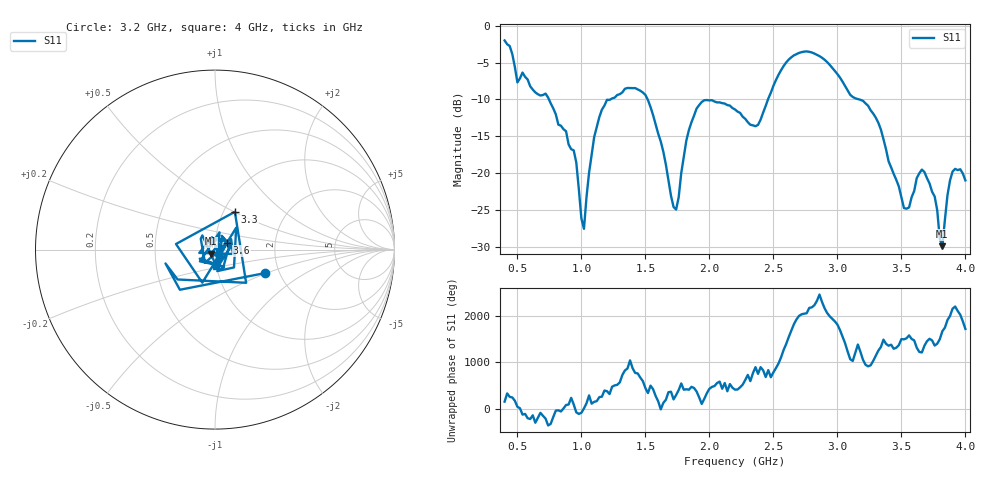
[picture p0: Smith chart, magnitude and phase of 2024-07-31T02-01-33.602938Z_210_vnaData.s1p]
!Created with skrf (http://scikit-rf.org).
# Hz S RI R 50.0
!freq ReS11 ImS11
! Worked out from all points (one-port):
!   181 points, 400 MHz to 4 GHz, reference 50 ohm
!   lowest |S11| = -29.9 dB at 3.82 GHz (marker M1), VSWR 1.07, Z = 47.7 - j2.16 ohm
!   |S11| at or under -10 dB: 746.4 MHz to 1.227 GHz (480.1 MHz wide, 48.7 % of centre); 1.517 GHz to 2.458 GHz (940.2 MHz wide, 47.3 % of centre); 3.17 GHz to end of sweep
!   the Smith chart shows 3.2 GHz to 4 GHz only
!   S11 on the Smith chart (normalised r, x): 3.2 GHz: 1.69, -0.49; 3.3 GHz: 1.13, +0.50; 3.6 GHz: 1.14, +0.09; 4 GHz: 1.00, -0.18
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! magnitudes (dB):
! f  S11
! 400 MHz  -2.0
! 500 MHz  -7.7
! 720 MHz  -9.2
! 860 MHz  -14.0
! 960 MHz  -18.5
! 1.02 GHz  -27.5
! 1.06 GHz  -19.9
! 1.14 GHz  -12.4
! 1.3 GHz  -9.3
! 1.5 GHz  -9.4
! 1.72 GHz  -24.6
! 1.76 GHz  -23.2
! 1.82 GHz  -15.6
! 1.9 GHz  -11.2
! 2.2 GHz  -11.4
! 2.38 GHz  -13.4
! 2.66 GHz  -4.0
! 2.88 GHz  -4.4
! 3.1 GHz  -9.4
! 3.2 GHz  -10.2
! 3.3 GHz  -12.5
! 3.56 GHz  -24.6
! 3.6 GHz  -22.4
! 3.68 GHz  -19.8
! 3.76 GHz  -23.1
! 3.82 GHz  -29.9
! 3.9 GHz  -19.8
! 4 GHz  -21.0
